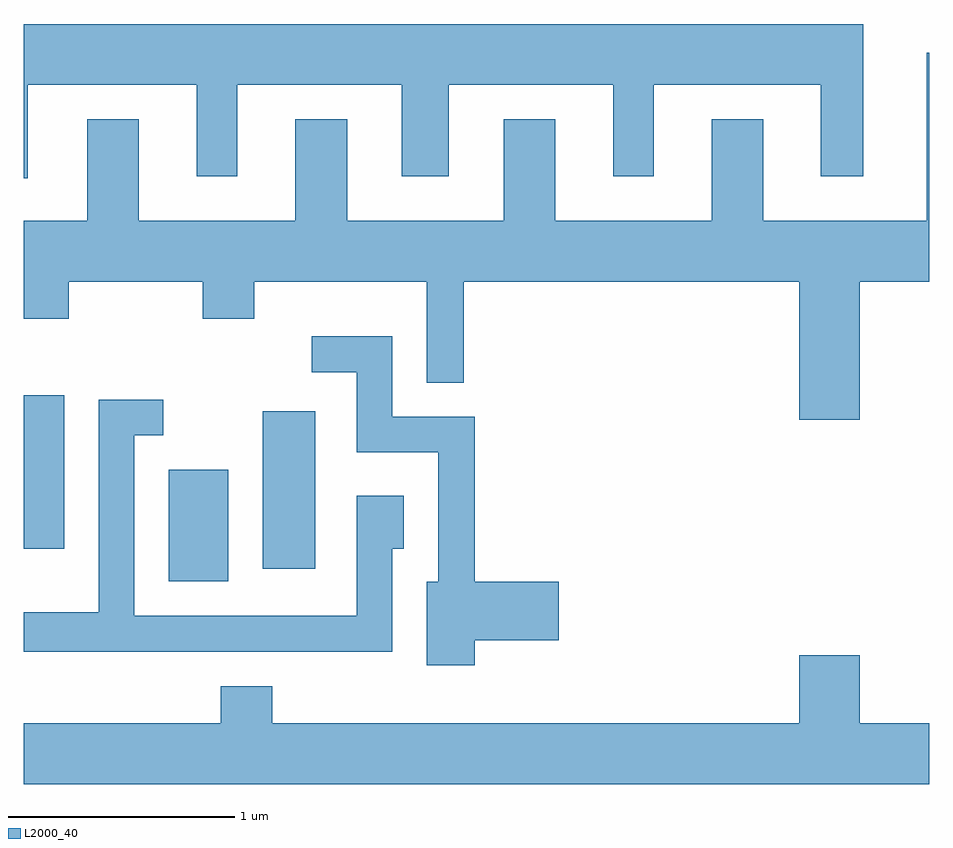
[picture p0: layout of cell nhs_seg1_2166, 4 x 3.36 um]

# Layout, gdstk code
import gdstk
lib = gdstk.Library(unit=1e-6, precision=1e-09)
def R(c, l, rs):  # rectangles x0, y0, x1, y1
    for r in rs: c.add(gdstk.rectangle(r[:2], r[2:], *l))
def P(c, l, *ps):  # polygons
    for p in ps: c.add(gdstk.Polygon(p, *l))
L2000_40 = (2000, 40)

nhs_seg1_2166 = lib.new_cell('nhs_seg1_2166')
R(nhs_seg1_2166, L2000_40, [(252.251,887.151,252.514,887.644), (252.666,887.206,252.899,887.904), (251.611,887.296,251.789,887.974)])
P(nhs_seg1_2166, L2000_40, [(251.629,889.346),(252.376,889.346),(252.376,888.941),(252.554,888.941),(252.554,889.346),(253.281,889.346),(253.281,888.941),(253.489,888.941),(253.489,889.346),(254.216,889.346),(254.216,888.941),(254.394,888.941),(254.394,889.346),(255.131,889.346),(255.131,888.941),(255.319,888.941),(255.319,889.614),(251.611,889.614),(251.611,888.933),(251.629,888.933)],
  [(251.611,888.311),(251.809,888.311),(251.809,888.476),(252.401,888.476),(252.401,888.311),(252.629,888.311),(252.629,888.476),(253.391,888.476),(253.391,888.028),(253.554,888.028),(253.554,888.476),(255.036,888.476),(255.036,887.866),(255.304,887.866),(255.304,888.476),(255.611,888.476),(255.611,889.488),(255.601,889.488),(255.601,888.744),(254.879,888.744),(254.879,889.194),(254.651,889.194),(254.651,888.744),(253.959,888.744),(253.959,889.194),(253.731,889.194),(253.731,888.744),(253.039,888.744),(253.039,889.194),(252.811,889.194),(252.811,888.744),(252.119,888.744),(252.119,889.194),(251.891,889.194),(251.891,888.744),(251.611,888.744)],
  [(253.604,886.891),(253.974,886.891),(253.974,887.149),(253.604,887.149),(253.604,887.879),(253.239,887.879),(253.239,888.234),(252.883,888.234),(252.883,888.076),(253.081,888.076),(253.081,887.721),(253.441,887.721),(253.441,887.149),(253.391,887.149),(253.391,886.781),(253.604,886.781)],
  [(253.239,887.296),(253.289,887.296),(253.289,887.529),(253.081,887.529),(253.081,886.999),(252.099,886.999),(252.099,887.796),(252.228,887.796),(252.228,887.954),(251.941,887.954),(251.941,887.014),(251.611,887.014),(251.611,886.841),(253.239,886.841)],
  [(255.611,886.524),(255.304,886.524),(255.304,886.824),(255.036,886.824),(255.036,886.524),(252.709,886.524),(252.709,886.689),(252.481,886.689),(252.481,886.524),(251.611,886.524),(251.611,886.256),(255.611,886.256)])

lib.write_gds('nhs_seg1_2166.gds')
